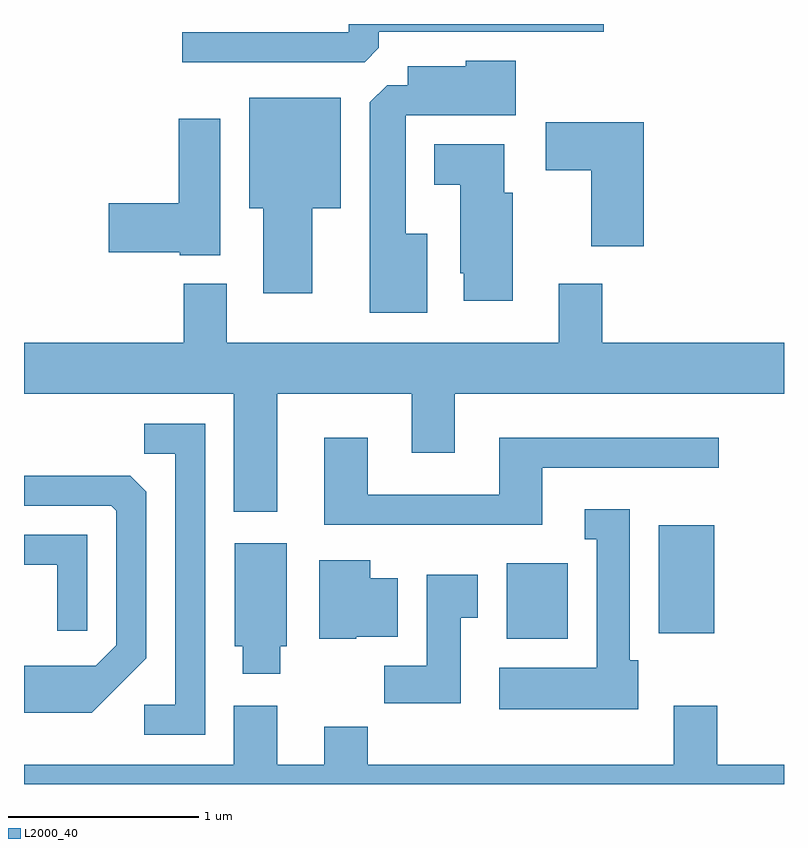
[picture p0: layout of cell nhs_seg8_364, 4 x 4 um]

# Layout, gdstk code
import gdstk
lib = gdstk.Library(unit=1e-6, precision=1e-09)
def R(c, l, rs):  # rectangles x0, y0, x1, y1
    for r in rs: c.add(gdstk.rectangle(r[:2], r[2:], *l))
def P(c, l, *ps):  # polygons
    for p in ps: c.add(gdstk.Polygon(p, *l))
L2000_40 = (2000, 40)

nhs_seg8_364 = lib.new_cell('nhs_seg8_364')
R(nhs_seg8_364, L2000_40, [(198.151,1855.106,198.474,1855.504), (198.951,1855.136,199.244,1855.704)])
P(nhs_seg8_364, L2000_40, [(197.479,1858.217),(197.479,1858.301),(198.663,1858.301),(198.663,1858.342),(197.321,1858.342),(197.321,1858.299),(196.443,1858.299),(196.443,1858.141),(197.404,1858.141)],
  [(197.734,1857.239),(197.619,1857.239),(197.619,1857.861),(198.199,1857.861),(198.199,1858.149),(197.936,1858.149),(197.936,1858.119),(197.631,1858.119),(197.631,1858.019),(197.522,1858.019),(197.431,1857.929),(197.431,1856.821),(197.734,1856.821)],
  [(197.129,1857.371),(197.279,1857.371),(197.279,1857.954),(196.796,1857.954),(196.796,1857.371),(196.871,1857.371),(196.871,1856.926),(197.129,1856.926)],
  [(196.644,1857.844),(196.426,1857.844),(196.426,1857.399),(196.056,1857.399),(196.056,1857.141),(196.43,1857.141),(196.43,1857.126),(196.644,1857.126)],
  [(198.874,1857.824),(198.356,1857.824),(198.356,1857.571),(198.596,1857.571),(198.596,1857.171),(198.874,1857.171)],
  [(198.184,1857.454),(198.139,1857.454),(198.139,1857.709),(197.771,1857.709),(197.771,1857.496),(197.906,1857.496),(197.906,1857.031),(197.926,1857.031),(197.926,1856.886),(198.184,1856.886)],
  [(196.944,1856.396),(197.651,1856.396),(197.651,1856.086),(197.879,1856.086),(197.879,1856.396),(199.611,1856.396),(199.611,1856.664),(198.654,1856.664),(198.654,1856.974),(198.426,1856.974),(198.426,1856.664),(196.679,1856.664),(196.679,1856.974),(196.451,1856.974),(196.451,1856.664),(195.611,1856.664),(195.611,1856.396),(196.716,1856.396),(196.716,1855.776),(196.944,1855.776)],
  [(196.564,1856.239),(196.243,1856.239),(196.243,1856.081),(196.406,1856.081),(196.406,1854.759),(196.243,1854.759),(196.243,1854.601),(196.564,1854.601)],
  [(198.339,1856.006),(199.268,1856.006),(199.268,1856.164),(198.111,1856.164),(198.111,1855.864),(197.419,1855.864),(197.419,1856.164),(197.191,1856.164),(197.191,1855.706),(198.339,1855.706)],
  [(196.254,1855.004),(196.254,1855.879),(196.169,1855.964),(195.611,1855.964),(195.611,1855.806),(196.069,1855.806),(196.096,1855.779),(196.096,1855.072),(195.989,1854.964),(195.611,1854.964),(195.611,1854.716),(195.967,1854.716)],
  [(198.844,1854.994),(198.799,1854.994),(198.799,1855.789),(198.563,1855.789),(198.563,1855.631),(198.626,1855.631),(198.626,1854.954),(198.111,1854.954),(198.111,1854.736),(198.844,1854.736)],
  [(195.944,1855.654),(195.611,1855.654),(195.611,1855.496),(195.786,1855.496),(195.786,1855.148),(195.944,1855.148)],
  [(196.959,1855.066),(196.994,1855.066),(196.994,1855.609),(196.721,1855.609),(196.721,1855.066),(196.761,1855.066),(196.761,1854.921),(196.959,1854.921)],
  [(197.36,1855.116),(197.579,1855.116),(197.579,1855.424),(197.434,1855.424),(197.434,1855.519),(197.166,1855.519),(197.166,1855.106),(197.36,1855.106)],
  [(197.909,1855.216),(197.999,1855.216),(197.999,1855.444),(197.731,1855.444),(197.731,1854.964),(197.506,1854.964),(197.506,1854.766),(197.909,1854.766)],
  [(199.611,1854.444),(199.259,1854.444),(199.259,1854.754),(199.031,1854.754),(199.031,1854.444),(197.419,1854.444),(197.419,1854.644),(197.191,1854.644),(197.191,1854.444),(196.944,1854.444),(196.944,1854.754),(196.716,1854.754),(196.716,1854.444),(195.611,1854.444),(195.611,1854.342),(199.611,1854.342)])

lib.write_gds('nhs_seg8_364.gds')
